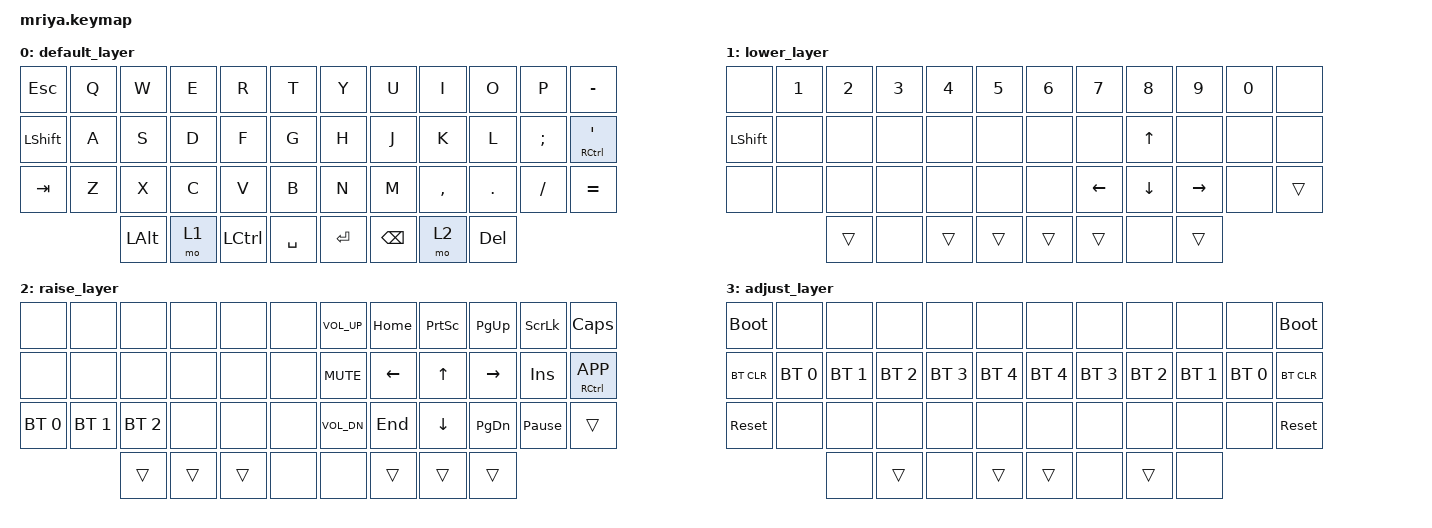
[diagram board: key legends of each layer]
/*
 * Copyright (c) 2023 Andrei Gaevskii
 *
 * SPDX-License-Identifier: MIT
 */

#include <behaviors.dtsi>
#include <dt-bindings/zmk/bt.h>
#include <dt-bindings/zmk/keys.h>

#define DEF 0
#define LWR 1
#define RSE 2
#define ADJ 3

&lt { quick_tap_ms = <200>; };

&mt { quick_tap_ms = <200>; };

/ {
    keymap {
        compatible = "zmk,keymap";

        default_layer {
            bindings = <
  &kp ESCAPE      &kp Q  &kp W         &kp E  &kp R             &kp T        &kp Y      &kp U          &kp I      &kp O    &kp P     &kp MINUS
  &kp LEFT_SHIFT  &kp A  &kp S         &kp D  &kp F             &kp G        &kp H      &kp J          &kp K      &kp L    &kp SEMI  &mt RCTRL SQT
  &kp TAB         &kp Z  &kp X         &kp C  &kp V             &kp B        &kp N      &kp M          &kp COMMA  &kp DOT  &kp FSLH  &kp EQUAL
                         &kp LEFT_ALT  &mo 1  &kp LEFT_CONTROL  &kp SPACE    &kp ENTER  &kp BACKSPACE  &mo 2      &kp DEL
            >;
        };

        lower_layer {
            bindings = <
  &none           &kp NUMBER_1  &kp NUMBER_2  &kp NUMBER_3  &kp NUMBER_4  &kp N5    &kp NUMBER_6  &kp N7          &kp N8          &kp N9           &kp N0  &none
  &kp LEFT_SHIFT  &none         &none         &none         &none         &none     &none         &none           &kp UP_ARROW    &none            &none   &none
  &none           &none         &none         &none         &none         &none     &none         &kp LEFT_ARROW  &kp DOWN_ARROW  &kp RIGHT_ARROW  &none   &trans
                                &trans        &none         &trans        &trans    &trans        &trans          &none           &trans
            >;
        };

        raise_layer {
            bindings = <
  &none         &none         &none         &none   &none   &none    &kp C_VOL_UP  &kp HOME  &kp PSCRN  &kp PG_UP  &kp SLCK         &kp CAPS
  &none         &none         &none         &none   &none   &none    &kp C_MUTE    &kp LEFT  &kp UP     &kp RIGHT  &kp INS          &mt RCTRL K_APP
  &bt BT_SEL 0  &bt BT_SEL 1  &bt BT_SEL 2  &none   &none   &none    &kp C_VOL_DN  &kp END   &kp DOWN   &kp PG_DN  &kp PAUSE_BREAK  &trans
                              &trans        &trans  &trans  &none    &none         &trans    &trans     &trans
            >;
        };

        adjust_layer {
            bindings = <
  &bootloader  &none         &none         &none         &none         &none           &none         &none         &none         &none         &none         &bootloader
  &bt BT_CLR   &bt BT_SEL 0  &bt BT_SEL 1  &bt BT_SEL 2  &bt BT_SEL 3  &bt BT_SEL 4    &bt BT_SEL 4  &bt BT_SEL 3  &bt BT_SEL 2  &bt BT_SEL 1  &bt BT_SEL 0  &bt BT_CLR
  &sys_reset   &none         &none         &none         &none         &none           &none         &none         &none         &none         &none         &sys_reset
                             &none         &trans        &none         &trans          &trans        &none         &trans        &none
            >;
        };
    };
};
